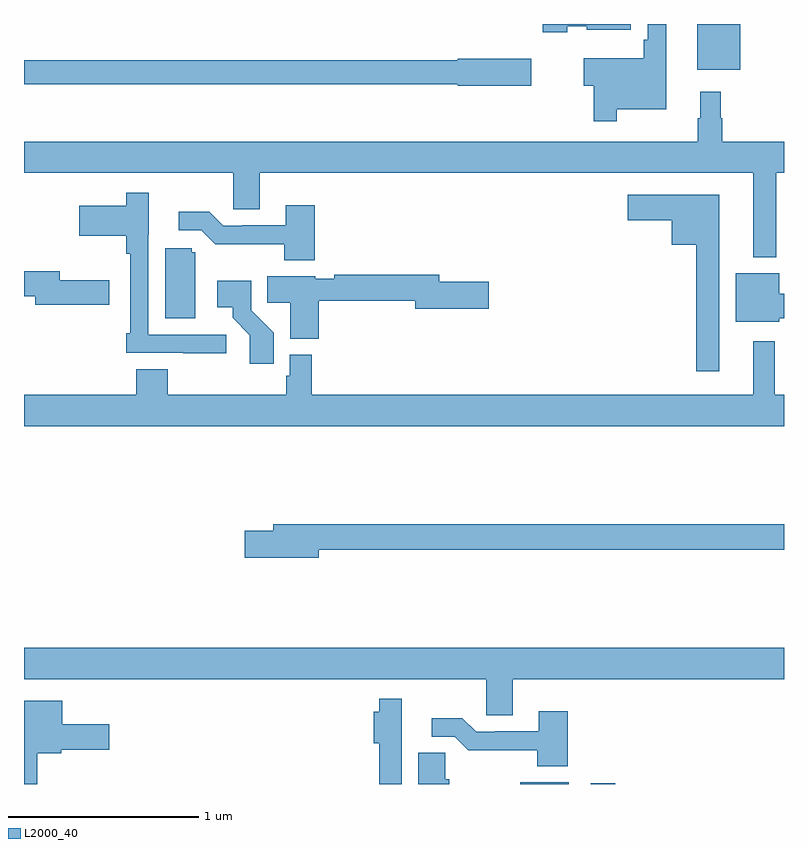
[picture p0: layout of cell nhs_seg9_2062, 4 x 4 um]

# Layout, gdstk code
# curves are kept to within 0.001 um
import gdstk
lib = gdstk.Library(unit=1e-6, precision=1e-09)
def R(c, l, rs):  # rectangles x0, y0, x1, y1
    for r in rs: c.add(gdstk.rectangle(r[:2], r[2:], *l))
def P(c, l, *ps):  # polygons
    for p in ps: c.add(gdstk.Polygon(p, *l))
L2000_40 = (2000, 40)

nhs_seg9_2062 = lib.new_cell('nhs_seg9_2062')
R(nhs_seg9_2062, L2000_40, [(229.612,1230.5,229.866,1230.508), (229.983,1230.5,230.113,1230.503), (230.543,1234.259,230.77,1234.5)])
P(nhs_seg9_2062, L2000_40, [(230.119,1234.052),(230.38,1234.052),(230.38,1234.5),(230.283,1234.5),(230.283,1234.417),(230.263,1234.417),(230.263,1234.321),(229.946,1234.321),(229.946,1234.174),(229.998,1234.174),(229.998,1233.987),(230.119,1233.987)],
  [(229.86,1234.487),(229.962,1234.487),(229.962,1234.469),(230.194,1234.469),(230.194,1234.5),(229.73,1234.5),(229.73,1234.457),(229.86,1234.457)],
  [(229.669,1234.316),(229.284,1234.316),(229.284,1234.31),(227,1234.31),(227,1234.182),(229.284,1234.182),(229.284,1234.174),(229.669,1234.174)],
  [(230.959,1233.716),(231,1233.716),(231,1233.88),(230.675,1233.88),(230.675,1234.004),(230.668,1234.004),(230.668,1234.144),(230.558,1234.144),(230.558,1234.004),(230.547,1234.004),(230.547,1233.88),(227,1233.88),(227,1233.716),(228.102,1233.716),(228.102,1233.526),(228.241,1233.526),(228.241,1233.716),(230.837,1233.716),(230.837,1233.272),(230.959,1233.272)],
  [(228.064,1232.865),(227.655,1232.865),(227.655,1233.39),(227.656,1233.39),(227.656,1233.613),(227.539,1233.613),(227.539,1233.544),(227.292,1233.544),(227.292,1233.386),(227.539,1233.386),(227.539,1233.29),(227.559,1233.29),(227.559,1232.872),(227.539,1232.872),(227.539,1232.769),(227.839,1232.769),(227.839,1232.767),(228.064,1232.767)],
  [(230.659,1233.601),(230.178,1233.601),(230.178,1233.467),(230.408,1233.467),(230.408,1233.338),(230.538,1233.338),(230.538,1232.673),(230.659,1232.673)],
  [(228.53,1233.547),(228.377,1233.547),(228.377,1233.441),(228.148,1233.441),(228.148,1233.438),(228.048,1233.438),(227.975,1233.511),(227.814,1233.511),(227.814,1233.414),(227.934,1233.414),(228.007,1233.341),(228.37,1233.342),(228.37,1233.257),(228.53,1233.257)],
  [(227.902,1233.3),(227.883,1233.3),(227.883,1233.321),(227.744,1233.321),(227.744,1232.952),(227.902,1232.952)],
  [(227.449,1233.151),(227.188,1233.151),(227.188,1233.2),(227,1233.2),(227,1233.068),(227.06,1233.068),(227.06,1233.022),(227.449,1233.022)],
  [(230.974,1232.952),(231,1232.952),(231,1233.08),(230.974,1233.08),(230.974,1233.187),(230.747,1233.187),(230.747,1232.933),(230.974,1232.933)],
  [(228.551,1233.043),(229.058,1233.043),(229.058,1233.001),(229.447,1233.001),(229.447,1233.143),(229.186,1233.143),(229.186,1233.179),(228.634,1233.179),(228.634,1233.159),(228.534,1233.159),(228.534,1233.172),(228.28,1233.172),(228.28,1233.034),(228.401,1233.034),(228.401,1232.843),(228.551,1232.843)],
  [(228.314,1232.874),(228.195,1232.993),(228.195,1233.148),(228.018,1233.148),(228.018,1233.008),(228.098,1233.008),(228.098,1232.953),(228.189,1232.863),(228.189,1232.712),(228.314,1232.712)],
  [(231,1232.548),(230.951,1232.548),(230.951,1232.83),(230.837,1232.83),(230.837,1232.548),(228.515,1232.548),(228.515,1232.758),(228.399,1232.758),(228.399,1232.649),(228.379,1232.649),(228.379,1232.548),(227.756,1232.548),(227.756,1232.684),(227.591,1232.684),(227.591,1232.548),(227,1232.548),(227,1232.384),(231,1232.384)],
  [(228.55,1231.732),(231,1231.732),(231,1231.868),(228.311,1231.868),(228.311,1231.832),(228.162,1231.832),(228.162,1231.69),(228.55,1231.69)],
  [(229.573,1231.052),(231,1231.052),(231,1231.216),(227,1231.216),(227,1231.052),(229.434,1231.052),(229.434,1230.862),(229.573,1230.862)],
  [(228.987,1230.726),(228.988,1230.726),(228.988,1230.949),(228.871,1230.949),(228.871,1230.88),(228.842,1230.88),(228.842,1230.715),(228.871,1230.715),(228.871,1230.5),(228.987,1230.5)],
  [(227.071,1230.662),(227.196,1230.662),(227.196,1230.68),(227.449,1230.68),(227.449,1230.814),(227.2,1230.814),(227.2,1230.937),(227,1230.937),(227,1230.5),(227.071,1230.5)],
  [(229.862,1230.883),(229.709,1230.883),(229.709,1230.777),(229.48,1230.777),(229.48,1230.774),(229.38,1230.774),(229.307,1230.847),(229.146,1230.847),(229.146,1230.75),(229.266,1230.75),(229.339,1230.677),(229.702,1230.678),(229.702,1230.593),(229.862,1230.593)],
  [(229.237,1230.525),(229.218,1230.525),(229.218,1230.665),(229.076,1230.665),(229.076,1230.5),(229.237,1230.5)])

lib.write_gds('nhs_seg9_2062.gds')
